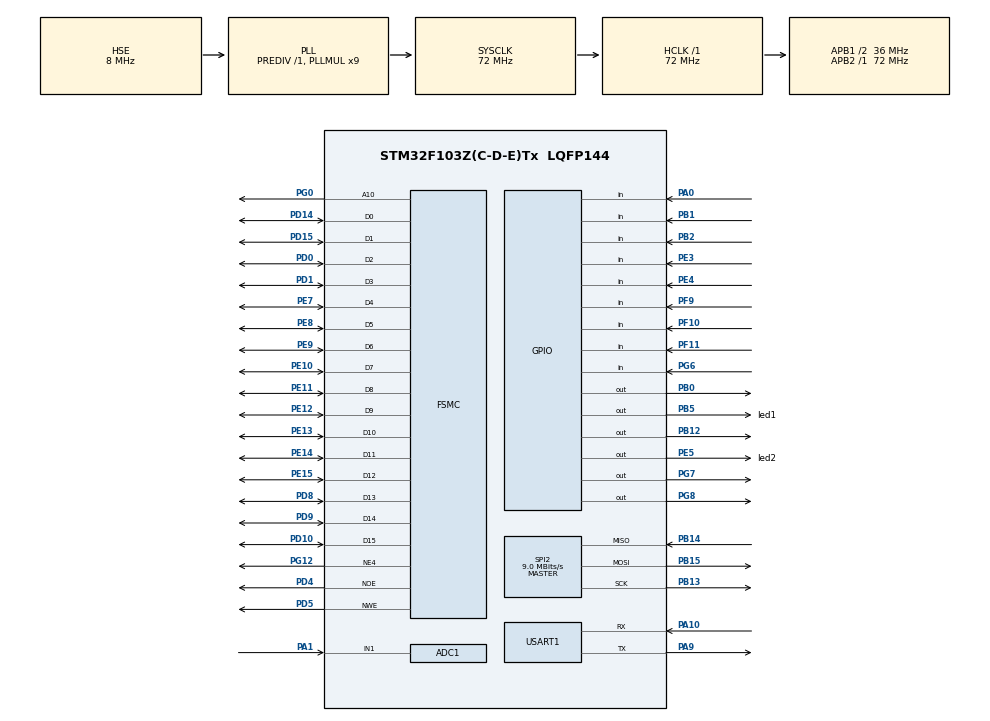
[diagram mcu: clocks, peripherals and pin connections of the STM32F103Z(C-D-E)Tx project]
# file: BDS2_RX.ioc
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Mcu.Family=STM32F1
FSMC.AddressSetupTime1=6
SH.FSMC_D1_DA1.0=FSMC_D1,16b-d1
PG6.Signal=GPIO_Input
SPI2.VirtualType=VM_MASTER
PG8.Signal=GPIO_Output
SH.FSMC_NWE.0=FSMC_NWE,Lcd1
PG0.Signal=FSMC_A10
SH.FSMC_D0_DA0.0=FSMC_D0,16b-d1
FSMC.ExtendedBusTurnAroundDuration1=0
PB13.Signal=SPI2_SCK
PB15.Signal=SPI2_MOSI
ADC1.Channel-8\#ChannelRegularConversion=ADC_CHANNEL_1
RCC.SYSCLKSource=RCC_SYSCLKSOURCE_PLLCLK
ProjectManager.StackSize=0x400
PB0.PinState=GPIO_PIN_SET
PB1.GPIO_PuPd=GPIO_NOPULL
RCC.HCLKFreq_Value=72000000
PD4.Signal=FSMC_NOE
RCC.APB2TimFreq_Value=72000000
TIM3.Period=1000-1
PB5.PinState=GPIO_PIN_RESET
PB12.PinState=GPIO_PIN_SET
PD0.Signal=FSMC_D2_DA2
PD8.Signal=FSMC_D13_DA13
PE5.Signal=GPIO_Output
OSC_OUT.Mode=HSE-External-Oscillator
SH.FSMC_A10.0=FSMC_A10,A10_1
OSC_OUT.Signal=RCC_OSC_OUT
RCC.AHBFreq_Value=72000000
SPI2.BaudRatePrescaler=SPI_BAUDRATEPRESCALER_4
PB2.Signal=GPIO_Input
PB12.GPIO_ModeDefaultOutputPP=GPIO_MODE_OUTPUT_PP
RCC.PLLMUL=RCC_PLL_MUL9
PG6.GPIO_PuPd=GPIO_PULLUP
PE13.Signal=FSMC_D10_DA10
SH.FSMC_D14_DA14.0=FSMC_D14,16b-d1
SH.FSMC_D10_DA10.0=FSMC_D10,16b-d1
PE9.Signal=FSMC_D6_DA6
PA14.Mode=Serial_Wire
PB14.Mode=Full_Duplex_Master
TIM3.Prescaler=72-1
PF11.Signal=GPIO_Input
SH.FSMC_D6_DA6.0=FSMC_D6,16b-d1
SPI2.CalculateBaudRate=9.0 MBits/s
FSMC.BusTurnAroundDuration1=0
PE10.Signal=FSMC_D7_DA7
PE4.Signal=GPIO_Input
SH.FSMC_D5_DA5.0=FSMC_D5,16b-d1
SH.FSMC_D4_DA4.0=FSMC_D4,16b-d1
Mcu.Package=LQFP144
PB1.Signal=GPIO_Input
SPI2.Mode=SPI_MODE_MASTER
SH.FSMC_D13_DA13.0=FSMC_D13,16b-d1
PA10.Signal=USART1_RX
PB5.GPIO_Speed=GPIO_SPEED_FREQ_HIGH
SH.ADCx_IN1.0=ADC1_IN1,IN1
PB5.GPIO_Label=led1
SH.FSMC_D3_DA3.0=FSMC_D3,16b-d1
PE3.GPIO_Mode=GPIO_MODE_INPUT
RCC.APB1TimFreq_Value=72000000
SH.FSMC_D2_DA2.0=FSMC_D2,16b-d1
SPI2.Direction=SPI_DIRECTION_2LINES
PB13.Mode=Full_Duplex_Master
PE7.Signal=FSMC_D4_DA4
ADC1.SamplingTime-8\#ChannelRegularConversion=ADC_SAMPLETIME_1CYCLE_5
PD15.Signal=FSMC_D1_DA1
VP_TIM3_VS_ClockSourceINT.Mode=Internal
PG12.Signal=FSMC_NE4
RCC.PLLSourceVirtual=RCC_PLLSOURCE_HSE
PB5.GPIO_ModeDefaultOutputPP=GPIO_MODE_OUTPUT_PP
FSMC.ExtendedAddressSetupTime1=3
SH.FSMC_D12_DA12.0=FSMC_D12,16b-d1
PG7.Signal=GPIO_Output
PA10.Mode=Asynchronous
FSMC.ExtendedMode1=FSMC_EXTENDED_MODE_ENABLE
ADC1.Rank-8\#ChannelRegularConversion=1
PD1.Signal=FSMC_D3_DA3
SH.FSMC_D9_DA9.0=FSMC_D9,16b-d1
PD9.Signal=FSMC_D14_DA14
PD5.Signal=FSMC_NWE
RCC.APB1CLKDivider=RCC_HCLK_DIV2
PA0-WKUP.Signal=GPIO_Input
SH.FSMC_D8_DA8.0=FSMC_D8,16b-d1
PB0.GPIO_Speed=GPIO_SPEED_FREQ_HIGH
RCC.ADCPresc=RCC_ADCPCLK2_DIV6
PD10.Signal=FSMC_D15_DA15
PA13.Signal=SYS_JTMS-SWDIO
PA9.Mode=Asynchronous
ProjectManager.TargetToolchain=STM32CubeIDE
FSMC.DataSetupTime1=26
PA9.Signal=USART1_TX
OSC_IN.Signal=RCC_OSC_IN
RCC.USBFreq_Value=72000000
PE11.Signal=FSMC_D8_DA8
PA1.Signal=ADCx_IN1
PB12.GPIO_Speed=GPIO_SPEED_FREQ_HIGH
PB14.Signal=SPI2_MISO
SH.FSMC_D7_DA7.0=FSMC_D7,16b-d1
FSMC.ExtendedDataSetupTime1=6
board=custom
PG12.Mode=NorPsramChipSelect4_1
PB15.Mode=Full_Duplex_Master
RCC.APB2Freq_Value=72000000
PE14.Signal=FSMC_D11_DA11
PE15.Signal=FSMC_D12_DA12
PE8.Signal=FSMC_D5_DA5
PF10.Signal=GPIO_Input
PE3.GPIO_PuPd=GPIO_PULLUP
PA13.Mode=Serial_Wire
Mcu.Name=STM32F103Z(C-D-E)Tx
PE12.Signal=FSMC_D9_DA9
PE4.GPIO_PuPd=GPIO_PULLUP
PD14.Signal=FSMC_D0_DA0
RCC.SYSCLKFreq_VALUE=72000000
PG7.GPIO_ModeDefaultOutputPP=GPIO_MODE_OUTPUT_PP
PB5.Signal=GPIO_Output
ADC1.master=1
OSC_IN.Mode=HSE-External-Oscillator
PB5.GPIO_PuPd=GPIO_PULLDOWN
PE5.GPIO_Label=led2
USART1.VirtualMode=VM_ASYNC
SH.FSMC_D15_DA15.0=FSMC_D15,16b-d1
PA14.Signal=SYS_JTCK-SWCLK
ProjectManager.HeapSize=0x200
SH.FSMC_D11_DA11.0=FSMC_D11,16b-d1
SH.FSMC_NOE.0=FSMC_NOE,Lcd1
PF9.Signal=GPIO_Input
NVIC.PriorityGroup=NVIC_PRIORITYGROUP_3
ADC1.NbrOfConversionFlag=1
PE3.Signal=GPIO_Input
PA0-WKUP.GPIO_PuPd=GPIO_PULLDOWN
PB12.GPIO_PuPd=GPIO_PULLUP
RCC.APB1Freq_Value=36000000
PB0.Signal=GPIO_Output
PB12.Signal=GPIO_Output
PB0.GPIO_PuPd=GPIO_PULLUP

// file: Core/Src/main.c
/* USER CODE BEGIN Header */
/**
  ******************************************************************************
  * @file           : main.c
  * @brief          : Main program body
  ******************************************************************************
  * @attention
  *
  * <h2><center>&copy; Copyright (c) 2020 STMicroelectronics.
  * All rights reserved.</center></h2>
  *
  * This software component is licensed by ST under BSD 3-Clause license,
  * the "License"; You may not use this file except in compliance with the
  * License. You may obtain a copy of the License at:
  *                        opensource.org/licenses/BSD-3-Clause
  *
  ******************************************************************************
  */
/* USER CODE END Header */
#include "main.h"

/* USER CODE BEGIN Includes */

//#include "sys.h"
//#include "delay.h"
#include "lcd.h"
#include "adc.h"
#include "string.h"
#include "lcd.h"
#include "24l01.h"
/* USER CODE END Includes */

/* USER CODE BEGIN PD */
uint16_t adcx;
uint8_t tmp_buf[10];
uint8_t send_data[50];
uint8_t Check_flag=0;
/* USER CODE END PD */

ADC_HandleTypeDef hadc1;

SPI_HandleTypeDef hspi2;

TIM_HandleTypeDef htim3;

UART_HandleTypeDef huart1;

SRAM_HandleTypeDef hsram1;

void SystemClock_Config(void);
static void MX_GPIO_Init(void);
static void MX_TIM3_Init(void);
static void MX_FSMC_Init(void);
static void MX_ADC1_Init(void);
static void MX_USART1_UART_Init(void);
static void MX_SPI2_Init(void);

/* USER CODE BEGIN 0 */
uint8_t KEY_Scan(uint8_t mode);

/* USER CODE END 0 */

int main(void)
{

  /* MCU Configuration--------------------------------------------------------*/

  /* Reset of all peripherals, Initializes the Flash interface and the Systick. */
  HAL_Init();

  /* Configure the system clock */
  SystemClock_Config();

  /* Initialize all configured peripherals */
  MX_GPIO_Init();
  MX_TIM3_Init();
  MX_FSMC_Init();
  MX_ADC1_Init();
  MX_USART1_UART_Init();
  MX_SPI2_Init();
  /* USER CODE BEGIN 2 */

  HAL_Delay(1);
  LCD_Init();
  POINT_COLOR=RED;

  HAL_ADC_Start(&hadc1);
  HAL_ADC_PollForConversion(&hadc1, 10);
  HAL_TIM_PWM_Start(&htim3,TIM_CHANNEL_2);
  NRF24L01_Init();

	  HAL_GPIO_WritePin(led1_GPIO_Port, led1_Pin, GPIO_PIN_SET);
	  HAL_GPIO_WritePin(led2_GPIO_Port, led2_Pin, GPIO_PIN_SET);
  /* USER CODE END 2 */

  /* Infinite loop */
  while (1)
  {

    /* USER CODE BEGIN 3 */

	 	  	  	POINT_COLOR=BLACK;
	 	  		LCD_ShowString(30,40,210,24,24,(uint8_t *)"Present By ZXD");

	 			if(NRF24L01_Check()==0)
	 			{
	 				if(Check_flag==0)
	 				{
	 				LCD_Fill(65,190,309,200+16,WHITE);
	 				LCD_ShowString(70,190,200,16,16,(uint8_t *)"NRF24L01 OK");
	 				Check_flag=1;
	 				NRF24L01_TX_Mode();
	 				}
	 				else{

	 					//sprintf((char *)tmp_buf,"%d",DAC_FRE);

	 					   if(NRF24L01_RxPacket(tmp_buf)==TX_OK)
	 					  {
	 						  LCD_Fill(0,220,lcddev.width,220+16,WHITE);//清空显示
	 					  	  LCD_ShowString(70,220,239,32,16,(uint8_t *)"DATA Receiving ");
	 					  	  memset(send_data, 0, sizeof(send_data));
	 					  	  	adcx = HAL_ADC_GetValue(&hadc1);
	 							send_data[(int)tmp_buf]=adcx;

	 							for(int ii=0;ii<50;ii++)
	 							{
	 									HAL_UART_Transmit(&huart1, send_data, sizeof(send_data), 100);
	 									delay_ms(500);
	 									LCD_ShowString(0,190,lcddev.width-1,32,16,send_data);
	 							}

	 					  }else
	 					  {
	 					  LCD_Fill(0,220,lcddev.width,220+16,WHITE);//清空显示
	 					  LCD_ShowString(70,220,lcddev.width-1,32,16,(uint8_t *)"Receive Failed ");
	 					  };

	 				}
	 			}
	 			else{
	 				LCD_Fill(65,190,309,200+16,WHITE);
	 				LCD_Fill(0,220,lcddev.width,220+16,WHITE);//清空显示
	 				LCD_ShowString(70,190,200,16,16,(uint8_t *)"NRF24L01 Error");
	 				Check_flag=0;
	 			}

  }
  /* USER CODE END 3 */
}

void SystemClock_Config(void)
{
  RCC_OscInitTypeDef RCC_OscInitStruct = {0};
  RCC_ClkInitTypeDef RCC_ClkInitStruct = {0};
  RCC_PeriphCLKInitTypeDef PeriphClkInit = {0};

  /** Initializes the RCC Oscillators according to the specified parameters
  * in the RCC_OscInitTypeDef structure.
  */
  RCC_OscInitStruct.OscillatorType = RCC_OSCILLATORTYPE_HSE;
  RCC_OscInitStruct.HSEState = RCC_HSE_ON;
  RCC_OscInitStruct.HSEPredivValue = RCC_HSE_PREDIV_DIV1;
  RCC_OscInitStruct.HSIState = RCC_HSI_ON;
  RCC_OscInitStruct.PLL.PLLState = RCC_PLL_ON;
  RCC_OscInitStruct.PLL.PLLSource = RCC_PLLSOURCE_HSE;
  RCC_OscInitStruct.PLL.PLLMUL = RCC_PLL_MUL9;
  if (HAL_RCC_OscConfig(&RCC_OscInitStruct) != HAL_OK)
  {
    Error_Handler();
  }
  /** Initializes the CPU, AHB and APB buses clocks
  */
  RCC_ClkInitStruct.ClockType = RCC_CLOCKTYPE_HCLK|RCC_CLOCKTYPE_SYSCLK
                              |RCC_CLOCKTYPE_PCLK1|RCC_CLOCKTYPE_PCLK2;
  RCC_ClkInitStruct.SYSCLKSource = RCC_SYSCLKSOURCE_PLLCLK;
  RCC_ClkInitStruct.AHBCLKDivider = RCC_SYSCLK_DIV1;
  RCC_ClkInitStruct.APB1CLKDivider = RCC_HCLK_DIV2;
  RCC_ClkInitStruct.APB2CLKDivider = RCC_HCLK_DIV1;

  if (HAL_RCC_ClockConfig(&RCC_ClkInitStruct, FLASH_LATENCY_2) != HAL_OK)
  {
    Error_Handler();
  }
  PeriphClkInit.PeriphClockSelection = RCC_PERIPHCLK_ADC;
  PeriphClkInit.AdcClockSelection = RCC_ADCPCLK2_DIV6;
  if (HAL_RCCEx_PeriphCLKConfig(&PeriphClkInit) != HAL_OK)
  {
    Error_Handler();
  }
}

static void MX_ADC1_Init(void)
{

  ADC_ChannelConfTypeDef sConfig = {0};

  /** Common config
  */
  hadc1.Instance = ADC1;
  hadc1.Init.ScanConvMode = ADC_SCAN_DISABLE;
  hadc1.Init.ContinuousConvMode = DISABLE;
  hadc1.Init.DiscontinuousConvMode = DISABLE;
  hadc1.Init.ExternalTrigConv = ADC_SOFTWARE_START;
  hadc1.Init.DataAlign = ADC_DATAALIGN_RIGHT;
  hadc1.Init.NbrOfConversion = 1;
  if (HAL_ADC_Init(&hadc1) != HAL_OK)
  {
    Error_Handler();
  }
  /** Configure Regular Channel
  */
  sConfig.Channel = ADC_CHANNEL_1;
  sConfig.Rank = ADC_REGULAR_RANK_1;
  sConfig.SamplingTime = ADC_SAMPLETIME_1CYCLE_5;
  if (HAL_ADC_ConfigChannel(&hadc1, &sConfig) != HAL_OK)
  {
    Error_Handler();
  }

}

static void MX_SPI2_Init(void)
{

  /* SPI2 parameter configuration*/
  hspi2.Instance = SPI2;
  hspi2.Init.Mode = SPI_MODE_MASTER;
  hspi2.Init.Direction = SPI_DIRECTION_2LINES;
  hspi2.Init.DataSize = SPI_DATASIZE_8BIT;
  hspi2.Init.CLKPolarity = SPI_POLARITY_LOW;
  hspi2.Init.CLKPhase = SPI_PHASE_1EDGE;
  hspi2.Init.NSS = SPI_NSS_SOFT;
  hspi2.Init.BaudRatePrescaler = SPI_BAUDRATEPRESCALER_4;
  hspi2.Init.FirstBit = SPI_FIRSTBIT_MSB;
  hspi2.Init.TIMode = SPI_TIMODE_DISABLE;
  hspi2.Init.CRCCalculation = SPI_CRCCALCULATION_DISABLE;
  hspi2.Init.CRCPolynomial = 10;
  if (HAL_SPI_Init(&hspi2) != HAL_OK)
  {
    Error_Handler();
  }

}

static void MX_TIM3_Init(void)
{

  TIM_ClockConfigTypeDef sClockSourceConfig = {0};
  TIM_MasterConfigTypeDef sMasterConfig = {0};

  htim3.Instance = TIM3;
  htim3.Init.Prescaler = 72-1;
  htim3.Init.CounterMode = TIM_COUNTERMODE_UP;
  htim3.Init.Period = 1000-1;
  htim3.Init.ClockDivision = TIM_CLOCKDIVISION_DIV1;
  htim3.Init.AutoReloadPreload = TIM_AUTORELOAD_PRELOAD_DISABLE;
  if (HAL_TIM_Base_Init(&htim3) != HAL_OK)
  {
    Error_Handler();
  }
  sClockSourceConfig.ClockSource = TIM_CLOCKSOURCE_INTERNAL;
  if (HAL_TIM_ConfigClockSource(&htim3, &sClockSourceConfig) != HAL_OK)
  {
    Error_Handler();
  }
  sMasterConfig.MasterOutputTrigger = TIM_TRGO_RESET;
  sMasterConfig.MasterSlaveMode = TIM_MASTERSLAVEMODE_DISABLE;
  if (HAL_TIMEx_MasterConfigSynchronization(&htim3, &sMasterConfig) != HAL_OK)
  {
    Error_Handler();
  }

}

static void MX_USART1_UART_Init(void)
{

  huart1.Instance = USART1;
  huart1.Init.BaudRate = 115200;
  huart1.Init.WordLength = UART_WORDLENGTH_8B;
  huart1.Init.StopBits = UART_STOPBITS_1;
  huart1.Init.Parity = UART_PARITY_NONE;
  huart1.Init.Mode = UART_MODE_TX_RX;
  huart1.Init.HwFlowCtl = UART_HWCONTROL_NONE;
  huart1.Init.OverSampling = UART_OVERSAMPLING_16;
  if (HAL_UART_Init(&huart1) != HAL_OK)
  {
    Error_Handler();
  }

}

static void MX_GPIO_Init(void)
{
  GPIO_InitTypeDef GPIO_InitStruct = {0};

  /* GPIO Ports Clock Enable */
  __HAL_RCC_GPIOE_CLK_ENABLE();
  __HAL_RCC_GPIOF_CLK_ENABLE();
  __HAL_RCC_GPIOA_CLK_ENABLE();
  __HAL_RCC_GPIOB_CLK_ENABLE();
  __HAL_RCC_GPIOG_CLK_ENABLE();
  __HAL_RCC_GPIOD_CLK_ENABLE();

  /*Configure GPIO pin Output Level */
  HAL_GPIO_WritePin(led2_GPIO_Port, led2_Pin, GPIO_PIN_RESET);

  /*Configure GPIO pin Output Level */
  HAL_GPIO_WritePin(GPIOB, GPIO_PIN_0|GPIO_PIN_12, GPIO_PIN_SET);

  /*Configure GPIO pin Output Level */
  HAL_GPIO_WritePin(GPIOG, GPIO_PIN_7|GPIO_PIN_8, GPIO_PIN_RESET);

  /*Configure GPIO pin Output Level */
  HAL_GPIO_WritePin(led1_GPIO_Port, led1_Pin, GPIO_PIN_RESET);

  /*Configure GPIO pins : PE3 PE4 */
  GPIO_InitStruct.Pin = GPIO_PIN_3|GPIO_PIN_4;
  GPIO_InitStruct.Mode = GPIO_MODE_INPUT;
  GPIO_InitStruct.Pull = GPIO_PULLUP;
  HAL_GPIO_Init(GPIOE, &GPIO_InitStruct);

  /*Configure GPIO pin : led2_Pin */
  GPIO_InitStruct.Pin = led2_Pin;
  GPIO_InitStruct.Mode = GPIO_MODE_OUTPUT_PP;
  GPIO_InitStruct.Pull = GPIO_NOPULL;
  GPIO_InitStruct.Speed = GPIO_SPEED_FREQ_LOW;
  HAL_GPIO_Init(led2_GPIO_Port, &GPIO_InitStruct);

  /*Configure GPIO pins : PF9 PF10 PF11 */
  GPIO_InitStruct.Pin = GPIO_PIN_9|GPIO_PIN_10|GPIO_PIN_11;
  GPIO_InitStruct.Mode = GPIO_MODE_INPUT;
  GPIO_InitStruct.Pull = GPIO_NOPULL;
  HAL_GPIO_Init(GPIOF, &GPIO_InitStruct);

  /*Configure GPIO pin : PA0 */
  GPIO_InitStruct.Pin = GPIO_PIN_0;
  GPIO_InitStruct.Mode = GPIO_MODE_INPUT;
  GPIO_InitStruct.Pull = GPIO_PULLDOWN;
  HAL_GPIO_Init(GPIOA, &GPIO_InitStruct);

  /*Configure GPIO pins : PB0 PB12 */
  GPIO_InitStruct.Pin = GPIO_PIN_0|GPIO_PIN_12;
  GPIO_InitStruct.Mode = GPIO_MODE_OUTPUT_PP;
  GPIO_InitStruct.Pull = GPIO_PULLUP;
  GPIO_InitStruct.Speed = GPIO_SPEED_FREQ_HIGH;
  HAL_GPIO_Init(GPIOB, &GPIO_InitStruct);

  /*Configure GPIO pins : PB1 PB2 */
  GPIO_InitStruct.Pin = GPIO_PIN_1|GPIO_PIN_2;
  GPIO_InitStruct.Mode = GPIO_MODE_INPUT;
  GPIO_InitStruct.Pull = GPIO_NOPULL;
  HAL_GPIO_Init(GPIOB, &GPIO_InitStruct);

  /*Configure GPIO pin : PG6 */
  GPIO_InitStruct.Pin = GPIO_PIN_6;
  GPIO_InitStruct.Mode = GPIO_MODE_INPUT;
  GPIO_InitStruct.Pull = GPIO_PULLUP;
  HAL_GPIO_Init(GPIOG, &GPIO_InitStruct);

  /*Configure GPIO pins : PG7 PG8 */
  GPIO_InitStruct.Pin = GPIO_PIN_7|GPIO_PIN_8;
  GPIO_InitStruct.Mode = GPIO_MODE_OUTPUT_PP;
  GPIO_InitStruct.Pull = GPIO_NOPULL;
  GPIO_InitStruct.Speed = GPIO_SPEED_FREQ_LOW;
  HAL_GPIO_Init(GPIOG, &GPIO_InitStruct);

  /*Configure GPIO pin : led1_Pin */
  GPIO_InitStruct.Pin = led1_Pin;
  GPIO_InitStruct.Mode = GPIO_MODE_OUTPUT_PP;
  GPIO_InitStruct.Pull = GPIO_PULLDOWN;
  GPIO_InitStruct.Speed = GPIO_SPEED_FREQ_HIGH;
  HAL_GPIO_Init(led1_GPIO_Port, &GPIO_InitStruct);

}

/* FSMC initialization function */
static void MX_FSMC_Init(void)
{

  FSMC_NORSRAM_TimingTypeDef Timing = {0};
  FSMC_NORSRAM_TimingTypeDef ExtTiming = {0};

  /** Perform the SRAM1 memory initialization sequence
  */
  hsram1.Instance = FSMC_NORSRAM_DEVICE;
  hsram1.Extended = FSMC_NORSRAM_EXTENDED_DEVICE;
  /* hsram1.Init */
  hsram1.Init.NSBank = FSMC_NORSRAM_BANK4;
  hsram1.Init.DataAddressMux = FSMC_DATA_ADDRESS_MUX_DISABLE;
  hsram1.Init.MemoryType = FSMC_MEMORY_TYPE_SRAM;
  hsram1.Init.MemoryDataWidth = FSMC_NORSRAM_MEM_BUS_WIDTH_16;
  hsram1.Init.BurstAccessMode = FSMC_BURST_ACCESS_MODE_DISABLE;
  hsram1.Init.WaitSignalPolarity = FSMC_WAIT_SIGNAL_POLARITY_LOW;
  hsram1.Init.WrapMode = FSMC_WRAP_MODE_DISABLE;
  hsram1.Init.WaitSignalActive = FSMC_WAIT_TIMING_BEFORE_WS;
  hsram1.Init.WriteOperation = FSMC_WRITE_OPERATION_ENABLE;
  hsram1.Init.WaitSignal = FSMC_WAIT_SIGNAL_DISABLE;
  hsram1.Init.ExtendedMode = FSMC_EXTENDED_MODE_ENABLE;
  hsram1.Init.AsynchronousWait = FSMC_ASYNCHRONOUS_WAIT_DISABLE;
  hsram1.Init.WriteBurst = FSMC_WRITE_BURST_DISABLE;
  /* Timing */
  Timing.AddressSetupTime = 6;
  Timing.AddressHoldTime = 15;
  Timing.DataSetupTime = 26;
  Timing.BusTurnAroundDuration = 0;
  Timing.CLKDivision = 16;
  Timing.DataLatency = 17;
  Timing.AccessMode = FSMC_ACCESS_MODE_A;
  /* ExtTiming */
  ExtTiming.AddressSetupTime = 3;
  ExtTiming.AddressHoldTime = 15;
  ExtTiming.DataSetupTime = 6;
  ExtTiming.BusTurnAroundDuration = 0;
  ExtTiming.CLKDivision = 16;
  ExtTiming.DataLatency = 17;
  ExtTiming.AccessMode = FSMC_ACCESS_MODE_A;

  if (HAL_SRAM_Init(&hsram1, &Timing, &ExtTiming) != HAL_OK)
  {
    Error_Handler( );
  }

  /** Disconnect NADV
  */

  __HAL_AFIO_FSMCNADV_DISCONNECTED();

}

/* USER CODE BEGIN 4 */

u8 KEY_Scan(uint8_t mode)
{
    static u8 key_up=1;     //按键松开标志
    if(mode==1)key_up=1;    //支持连按
    if(key_up&&(KEY0==0||KEY1==0||WK_UP==1))
    {
        HAL_Delay(10);
        key_up=0;
        if(KEY0==0)       return KEY0_PRES;
        else if(KEY1==0)  return KEY1_PRES;
        else if(WK_UP==1) return WKUP_PRES;
    }else if(KEY0==1&&KEY1==1&&WK_UP==0)key_up=1;
    return 0;   //无按键按�??????????????
}

/* USER CODE END 4 */

void Error_Handler(void)
{
}

/************************ (C) COPYRIGHT STMicroelectronics *****END OF FILE****/
